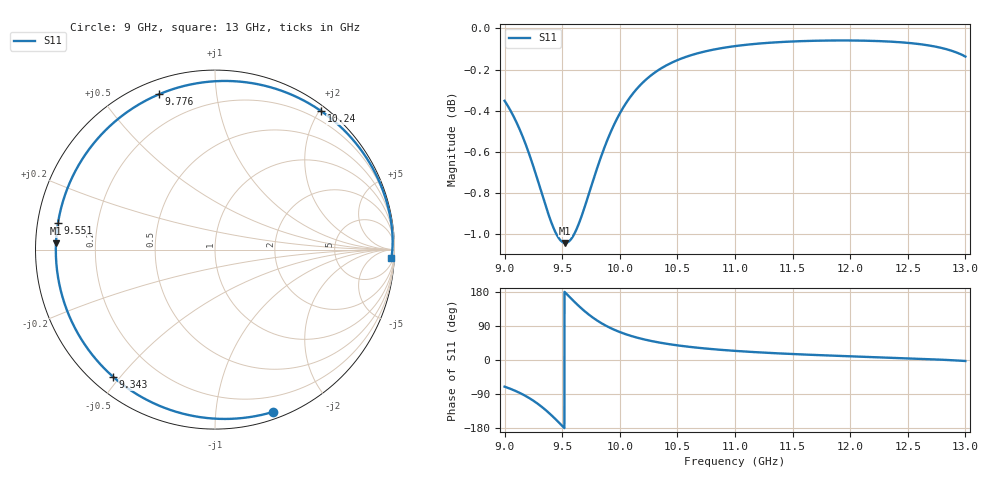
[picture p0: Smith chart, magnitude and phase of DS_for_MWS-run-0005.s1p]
! TOUCHSTONE file generated by CST DESIGN STUDIO
! Date and time: Tue Feb  4 17:06:46 2025
! Project name: C:\Work\MatlabApps\UnitCellOptimizationMatlab\CST\unitcell.cst
! Tree item: Tasks\Sweep1\SPara1\S-Parameters
! Header version: 2024
! Port assignment regex: !\s*Touchstone port\s*([0-9]+)\s*=\s*(CST MWS port|CST DES external port|CST DES block port)\s*(.+)\s* \(\"(.*)\"\)(\s*mode\s*([0-9]+))?.*
! Touchstone port assignment:
! Touchstone port 1 = CST DES external port 1 ("")
# GHz S MA R 50
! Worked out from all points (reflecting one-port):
!   4001 points, 9 GHz to 13 GHz, reference 50 ohm
!   lowest |S11| = -1.0 dB at 9.527 GHz (marker M1), VSWR 16.68, Z = 3 + j0.976 ohm
!   phase of S11 starts at -70 deg and turns -292 deg over the sweep
!   S11 on the Smith chart (normalised r, x): 9 GHz: 0.06, -1.42; 9.343 GHz: 0.06, -0.48; 9.551 GHz: 0.06, +0.08; 9.776 GHz: 0.06, +0.70; 10.24 GHz: 0.07, +2.03; 13 GHz: 13, -39
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9  0.9603 -70.4
9.095  0.9498 -81.7
9.201  0.9342 -98.2
9.275  0.9209 -112.7
9.343  0.908 -128.6
9.385  0.9004 -139.7
9.429  0.8937 -152.2
9.465  0.8897 -163.0
9.5  0.8874 -173.8
9.527  0.8869 177.8
9.551  0.8873 170.3
9.605  0.8913 153.8
9.667  0.9 136.1
9.72  0.9094 122.5
9.776  0.9198 109.8
9.823  0.9283 100.4
9.874  0.9367 91.4
10  0.9535 73.8
10.111  0.964 62.3
10.237  0.9723 52.5
10.359  0.9779 45.2
10.5  0.9824 38.6
10.721  0.9869 31.0
11  0.9901 24.1
11.5  0.9927 15.7
12  0.9933 9.8
12.5  0.9919 4.4
13  0.9844 -2.6
